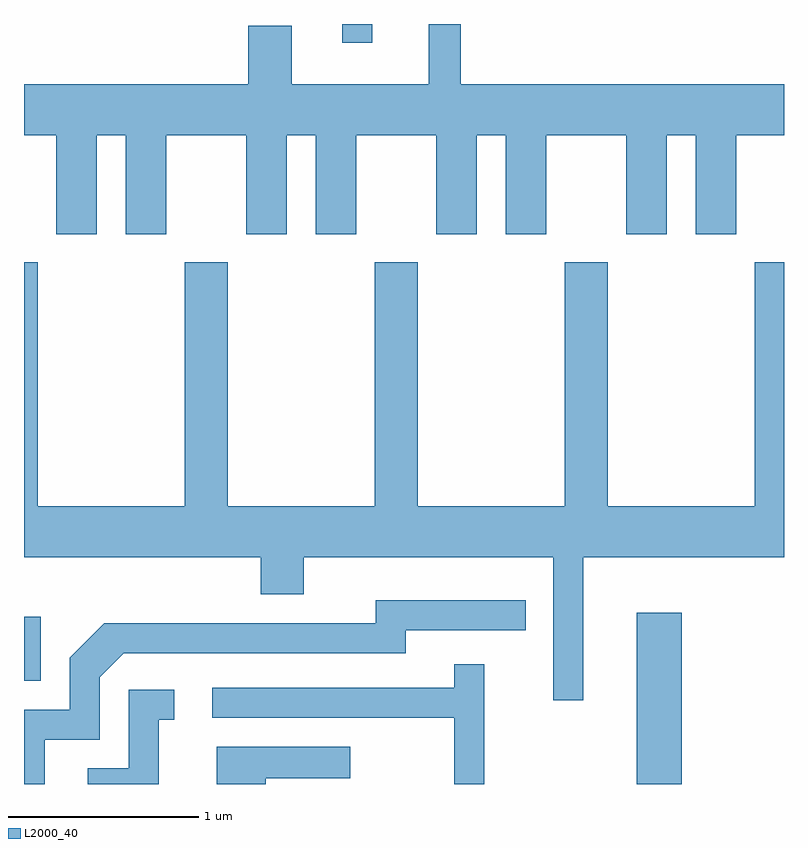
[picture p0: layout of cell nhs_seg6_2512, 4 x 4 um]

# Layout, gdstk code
import gdstk
lib = gdstk.Library(unit=1e-6, precision=1e-09)
def R(c, l, rs):  # rectangles x0, y0, x1, y1
    for r in rs: c.add(gdstk.rectangle(r[:2], r[2:], *l))
def P(c, l, *ps):  # polygons
    for p in ps: c.add(gdstk.Polygon(p, *l))
L2000_40 = (2000, 40)

nhs_seg6_2512 = lib.new_cell('nhs_seg6_2512')
R(nhs_seg6_2512, L2000_40, [(264.836,1562.162,265.074,1563.064), (261.611,1562.706,261.699,1563.043), (263.286,1566.063,263.444,1566.162)])
P(nhs_seg6_2512, L2000_40, [(261.994,1565.576),(262.146,1565.576),(262.146,1565.056),(262.359,1565.056),(262.359,1565.576),(262.781,1565.576),(262.781,1565.056),(262.994,1565.056),(262.994,1565.576),(263.146,1565.576),(263.146,1565.056),(263.359,1565.056),(263.359,1565.576),(263.781,1565.576),(263.781,1565.056),(263.994,1565.056),(263.994,1565.576),(264.146,1565.576),(264.146,1565.056),(264.359,1565.056),(264.359,1565.576),(264.781,1565.576),(264.781,1565.056),(264.994,1565.056),(264.994,1565.576),(265.146,1565.576),(265.146,1565.056),(265.359,1565.056),(265.359,1565.576),(265.611,1565.576),(265.611,1565.844),(263.909,1565.844),(263.909,1566.162),(263.741,1566.162),(263.741,1565.844),(263.019,1565.844),(263.019,1566.154),(262.791,1566.154),(262.791,1565.844),(261.611,1565.844),(261.611,1565.576),(261.781,1565.576),(261.781,1565.056),(261.994,1565.056)],
  [(264.456,1563.624),(263.684,1563.624),(263.684,1564.909),(263.456,1564.909),(263.456,1563.624),(262.684,1563.624),(262.684,1564.909),(262.456,1564.909),(262.456,1563.624),(261.684,1563.624),(261.684,1564.909),(261.611,1564.909),(261.611,1563.356),(262.856,1563.356),(262.856,1563.161),(263.084,1563.161),(263.084,1563.356),(264.396,1563.356),(264.396,1562.603),(264.554,1562.603),(264.554,1563.356),(265.611,1563.356),(265.611,1564.909),(265.456,1564.909),(265.456,1563.624),(264.684,1563.624),(264.684,1564.909),(264.456,1564.909)],
  [(261.719,1562.396),(262.009,1562.396),(262.009,1562.724),(262.137,1562.851),(263.619,1562.851),(263.619,1562.971),(264.253,1562.971),(264.253,1563.129),(263.461,1563.129),(263.461,1563.009),(262.034,1563.009),(261.851,1562.827),(261.851,1562.554),(261.611,1562.554),(261.611,1562.162),(261.719,1562.162)],
  [(264.034,1562.793),(263.876,1562.793),(263.876,1562.669),(262.603,1562.669),(262.603,1562.511),(263.876,1562.511),(263.876,1562.162),(264.034,1562.162)],
  [(262.319,1562.501),(262.403,1562.501),(262.403,1562.659),(262.161,1562.659),(262.161,1562.244),(261.946,1562.244),(261.946,1562.162),(262.319,1562.162)],
  [(262.884,1562.191),(263.328,1562.191),(263.328,1562.359),(262.626,1562.359),(262.626,1562.162),(262.884,1562.162)])

lib.write_gds('nhs_seg6_2512.gds')
